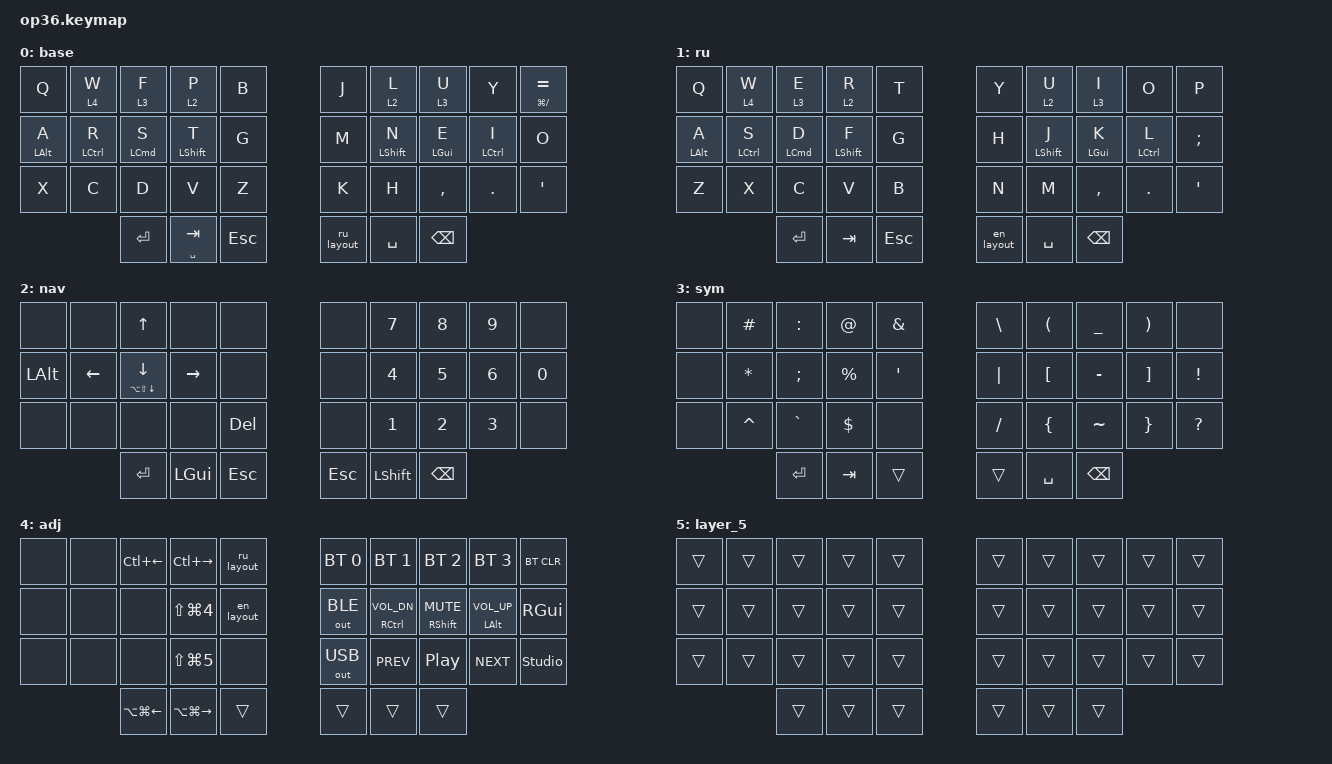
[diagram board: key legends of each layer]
#include <behaviors.dtsi>
#include <dt-bindings/zmk/bt.h>
#include <dt-bindings/zmk/keys.h>
#include <dt-bindings/zmk/outputs.h>

&mt {
    quick-tap-ms = <180>;
    flavor = "tap-preferred";
    require-prior-idle-ms = <125>;
};

/ {
    behaviors {
        hml: home_row_mod_left {
            compatible = "zmk,behavior-hold-tap";
            #binding-cells = <2>;
            flavor = "balanced";
            require-prior-idle-ms = <125>;
            tapping-term-ms = <180>;
            quick-tap-ms = <150>;
            bindings = <&kp>, <&kp>;

            hold-trigger-key-positions = < 0 1 2 3 4 10 11 12 13 14 20 21 22 23 24 30 31 32 >;
            hold-trigger-on-release;
        };

        hmr: home_row_mod_right {
            compatible = "zmk,behavior-hold-tap";
            #binding-cells = <2>;
            flavor = "balanced";
            require-prior-idle-ms = <125>;
            tapping-term-ms = <180>;
            quick-tap-ms = <150>;
            bindings = <&kp>, <&kp>;

            hold-trigger-key-positions = < 5 6 7 8 9 15 16 17 18 19 25 26 27 28 29 33 34 35 >;
            hold-trigger-on-release;
        };
    };

    combos {
        compatible = "zmk,combos";

        copy {
            bindings = <&kp LG(C)>;
            key-positions = <22 21>;
        };

        hrdsgn {
            bindings = <&kp LG(V)>;
            key-positions = <22 23>;
        };

        cmd_z {
            bindings = <&kp LG(Z)>;
            key-positions = <22 24>;
        };

        cut {
            bindings = <&kp LG(X)>;
            key-positions = <22 20>;
        };

        x {
            bindings = <&kp LEFT_BRACKET>;
            key-positions = <34 29>;
        };

        ru_comma {
            bindings = <&kp LS(NUMBER_6)>;
            key-positions = <26 27>;
        };

        ru_dot {
            bindings = <&kp LS(N7)>;
            key-positions = <27 28>;
        };

        ru_hard_mark {
            bindings = <&kp RIGHT_BRACKET>;
            key-positions = <25 26>;
        };
    };

    macros {
        ru_layout: ru_layout {
            compatible = "zmk,behavior-macro";
            #binding-cells = <0>;
            bindings = <&kp LC(SPACE)>, <&macro_wait_time 20>, <&to 1>;

            label = "RU_LAYOUT";
        };

        en_layout: en_layout {
            compatible = "zmk,behavior-macro";
            #binding-cells = <0>;
            bindings = <&kp LC(SPACE)>, <&macro_wait_time 20>, <&to 0>;

            label = "EN_LAYOUT";
        };
    };

    keymap {
        compatible = "zmk,keymap";

        base {
            bindings = <
  &kp Q        &lt 4 W       &lt 3 F      &lt 2 P       &kp B                                 &kp J      &lt 2 L       &lt 3 U      &kp Y         &mt LG(SLASH) EQUAL
  &hml LALT A  &hml LCTRL R  &hml LCMD S  &hml LSHFT T  &kp G                                 &kp M      &hmr LSHFT N  &hmr LGUI E  &hmr LCTRL I  &kp O
  &kp X        &kp C         &kp D        &kp V         &kp Z                                 &kp K      &kp H         &kp COMMA    &kp DOT       &kp APOS
                                          &kp ENTER     &mt SPACE TAB  &kp ESC    &ru_layout  &kp SPACE  &kp BSPC
            >;
        };

        ru {
            bindings = <
  &kp Q        &lt 4 W       &lt 3 E      &lt 2 R       &kp T                           &kp Y      &lt 2 U       &lt 3 I      &kp O         &kp P
  &hml LALT A  &hml LCTRL S  &hml LCMD D  &hml LSHFT F  &kp G                           &kp H      &hmr LSHFT J  &hmr LGUI K  &hmr LCTRL L  &kp SEMICOLON
  &kp Z        &kp X         &kp C        &kp V         &kp B                           &kp N      &kp M         &kp COMMA    &kp DOT       &kp SQT
                                          &kp ENTER     &kp TAB  &kp ESC    &en_layout  &kp SPACE  &kp BSPC
            >;
        };

        nav {
            bindings = <
  &none     &none     &kp UP_ARROW                       &none      &none                           &none      &kp N7        &kp N8        &kp N9        &none
  &kp LALT  &kp LEFT  &mt LA(LS(DOWN_ARROW)) DOWN_ARROW  &kp RIGHT  &none                           &none      &kp NUMBER_4  &kp N5        &kp NUMBER_6  &kp N0
  &none     &none     &none                              &none      &kp DELETE                      &none      &kp NUMBER_1  &kp NUMBER_2  &kp NUMBER_3  &none
                                                         &kp ENTER  &kp LGUI    &kp ESC    &kp ESC  &kp LSHFT  &kp BSPC
            >;
        };

        sym {
            bindings = <
  &none  &kp HASH      &kp COLON      &kp AT_SIGN  &kp AMPERSAND                    &kp BACKSLASH  &kp LEFT_PARENTHESIS  &kp UNDER  &kp RIGHT_PARENTHESIS  &none
  &none  &kp ASTERISK  &kp SEMICOLON  &kp PERCENT  &kp SQT                          &kp PIPE       &kp LEFT_BRACKET      &kp MINUS  &kp RIGHT_BRACKET      &kp EXCLAMATION
  &none  &kp CARET     &kp GRAVE      &kp DOLLAR   &none                            &kp SLASH      &kp LEFT_BRACE        &kp TILDE  &kp RIGHT_BRACE        &kp QUESTION
                                      &kp ENTER    &kp TAB        &trans    &trans  &kp SPACE      &kp BSPC
            >;
        };

        adj {
            bindings = <
  &none  &none  &kp LC(LEFT)  &kp LC(RIGHT)         &ru_layout                           &bt BT_SEL 0  &bt BT_SEL 1         &bt BT_SEL 2       &bt BT_SEL 3        &bt BT_CLR
  &none  &none  &none         &kp LS(LG(NUMBER_4))  &en_layout                           &out OUT_BLE  &hmr RCTRL C_VOL_DN  &hmr RSHFT C_MUTE  &hmr LALT C_VOL_UP  &kp RGUI
  &none  &none  &none         &kp LS(LG(N5))        &none                                &out OUT_USB  &kp C_PREV           &kp C_PP           &kp C_NEXT          &studio_unlock
                              &kp LA(LG(LEFT))      &kp LA(LG(RIGHT))  &trans    &trans  &trans        &trans
            >;
        };

        layer_5 {
            bindings = <
  &trans  &trans  &trans  &trans  &trans                    &trans  &trans  &trans  &trans  &trans
  &trans  &trans  &trans  &trans  &trans                    &trans  &trans  &trans  &trans  &trans
  &trans  &trans  &trans  &trans  &trans                    &trans  &trans  &trans  &trans  &trans
                          &trans  &trans  &trans    &trans  &trans  &trans
            >;
        };
    };
};
